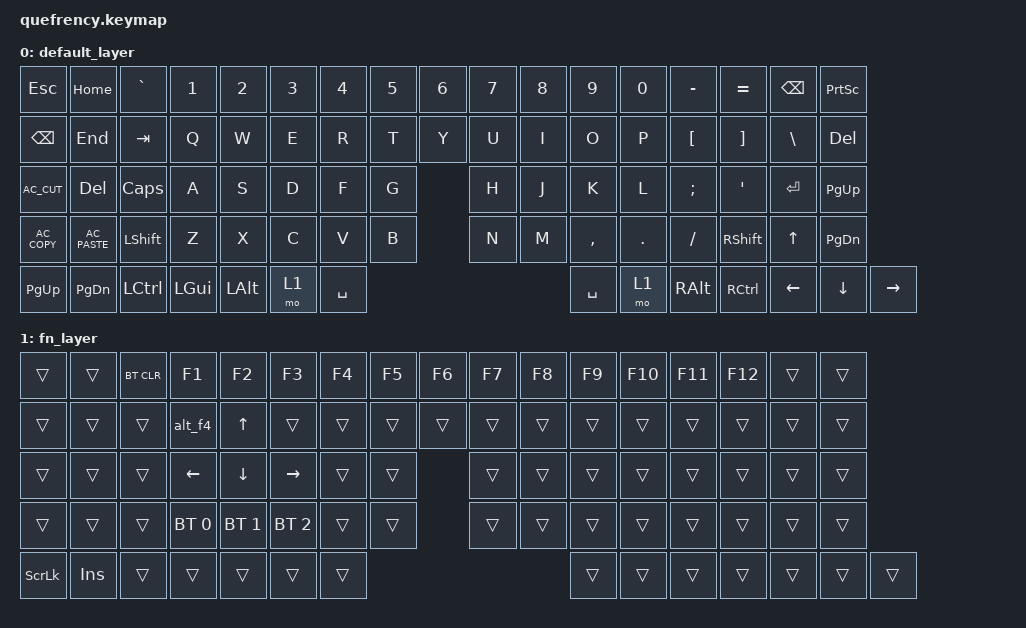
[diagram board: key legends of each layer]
/*
 * Copyright (c) 2020 The ZMK Contributors
 *
 * SPDX-License-Identifier: MIT
 */

#include <behaviors.dtsi>
#include <dt-bindings/zmk/bt.h>
#include <dt-bindings/zmk/keys.h>

/ {
    macros {
        alt_f4: alt_f4 {
            label = "ZM_alt_f4";
            compatible = "zmk,behavior-macro";
            #binding-cells = <0>;
            bindings
                = <&macro_press &kp LALT>
                , <&macro_tap &kp F4>
                , <&macro_release &kp LALT>
                ;
        };
    };
};

/ {
    keymap {
        compatible = "zmk,keymap";

        default_layer {
            bindings = <
&kp ESC       &kp HOME         &kp GRAVE   &kp N1   &kp N2   &kp N3    &kp N4 &kp N5 &kp N6 /**/ &kp N7    &kp N8   &kp N9    &kp N0    &kp MINUS &kp EQUAL &kp BSPC          &kp PRINTSCREEN
&kp BSPC      &kp END          &kp TAB   &kp Q    &kp W    &kp E     &kp R  &kp T           /**/ &kp Y     &kp U    &kp I     &kp O     &kp P     &kp LBKT  &kp RBKT &kp BSLH &kp DEL
&kp C_AC_CUT  &kp DEL          &kp CAPS &kp A    &kp S    &kp D     &kp F  &kp G            /**/ &kp H     &kp J    &kp K     &kp L     &kp SEMI  &kp SQT   &kp RET           &kp PG_UP
&kp C_AC_COPY &kp C_AC_PASTE   &kp LSHFT &kp Z    &kp X    &kp C     &kp V  &kp B           /**/ &kp N     &kp M    &kp COMMA &kp DOT   &kp FSLH  &kp RSHFT &kp UP            &kp PG_DN
&kp PG_UP     &kp PG_DN        &kp LCTRL &kp LGUI &kp LALT &mo 1     &kp SPACE              /**/ &kp SPACE                    &mo 1  &kp RALT   &kp RCTRL &kp LEFT  &kp DOWN &kp RIGHT
             >;
        };

        fn_layer {
            bindings = <
&trans   &trans     &bt BT_CLR &kp F1       &kp F2       &kp F3       &kp F4 &kp F5 &kp F6 /**/ &kp F7 &kp F8 &kp F9 &kp F10 &kp F11 &kp F12 &trans  &trans
 &trans   &trans     &trans     &alt_f4      &kp UP        &trans        &trans &trans        /**/ &trans &trans &trans &trans  &trans  &trans  &trans &trans &trans
 &trans   &trans     &trans      &kp LEFT     &kp DOWN     &kp RIGHT     &trans   &trans     /**/ &trans &trans &trans &trans  &trans  &trans  &trans &trans
 &trans   &trans     &trans    &bt BT_SEL 0 &bt BT_SEL 1 &bt BT_SEL 2  &trans &trans        /**/ &trans &trans &trans &trans  &trans  &trans  &trans &trans
 &kp SLCK &kp INS    &trans     &trans       &trans       &trans       &trans               /**/ &trans &trans &trans &trans  &trans  &trans  &trans
             >;
        };
    };
};
